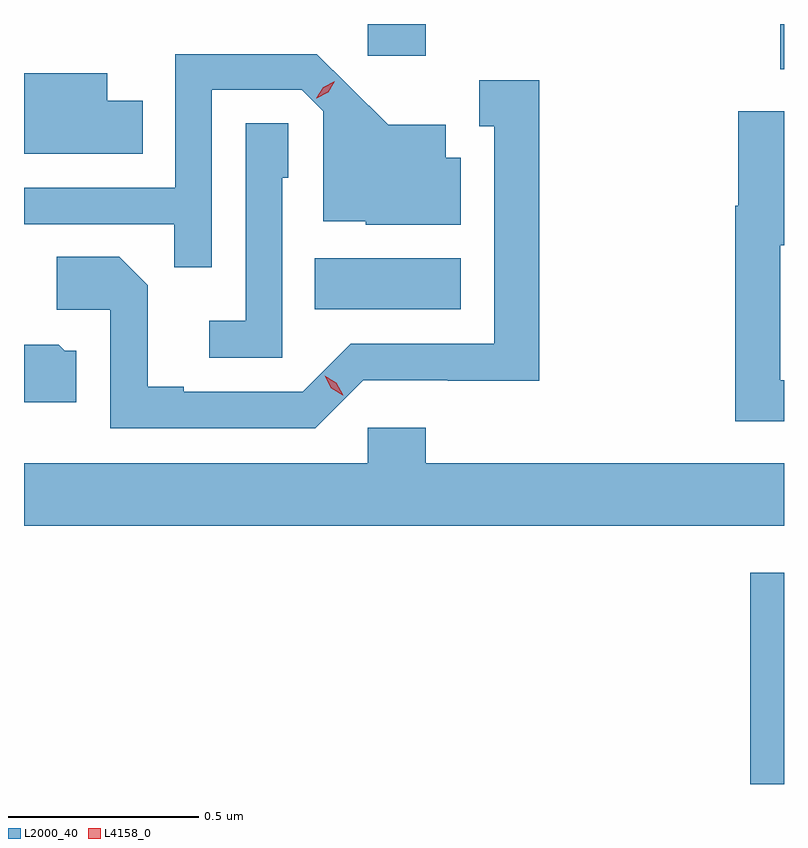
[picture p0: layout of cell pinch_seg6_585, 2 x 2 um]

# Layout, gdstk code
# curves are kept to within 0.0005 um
import gdstk
lib = gdstk.Library(unit=1e-6, precision=1e-09)
def R(c, l, rs):  # rectangles x0, y0, x1, y1
    for r in rs: c.add(gdstk.rectangle(r[:2], r[2:], *l))
def P(c, l, *ps):  # polygons
    for p in ps: c.add(gdstk.Polygon(p, *l))
L2000_40 = (2000, 40)
L4158_0 = (4158, 0)

pinch_seg6_585 = lib.new_cell('pinch_seg6_585')
R(pinch_seg6_585, L2000_40, [(628.246,975.96,628.335,976.516), (627.1,977.21,627.484,977.344), (628.325,977.841,628.335,977.96), (627.24,977.877,627.392,977.96)])
P(pinch_seg6_585, L2000_40, [(626.829,977.787),(627.066,977.787),(627.123,977.73),(627.123,977.441),(627.234,977.441),(627.234,977.432),(627.484,977.432),(627.484,977.608),(627.445,977.608),(627.445,977.695),(627.293,977.695),(627.106,977.88),(626.733,977.88),(626.733,977.529),(626.335,977.529),(626.335,977.433),(626.731,977.433),(626.731,977.32),(626.829,977.32)],
  [(626.648,977.758),(626.554,977.758),(626.554,977.83),(626.335,977.83),(626.335,977.618),(626.648,977.618)],
  [(627.228,977.022),(627.45,977.022),(627.45,977.021),(627.691,977.021),(627.691,977.812),(627.533,977.812),(627.533,977.691),(627.572,977.691),(627.572,977.118),(627.195,977.118),(627.069,976.992),(626.755,976.992),(626.755,977.005),(626.661,977.005),(626.661,977.272),(626.585,977.348),(626.421,977.348),(626.421,977.208),(626.562,977.208),(626.562,976.896),(627.102,976.896)],
  [(628.335,977.023),(628.325,977.023),(628.325,977.378),(628.335,977.378),(628.335,977.731),(628.214,977.731),(628.214,977.482),(628.207,977.482),(628.207,976.914),(628.335,976.914)],
  [(627.015,977.556),(627.03,977.556),(627.03,977.699),(626.919,977.699),(626.919,977.179),(626.823,977.179),(626.823,977.082),(627.015,977.082)],
  [(626.473,977.1),(626.442,977.1),(626.426,977.116),(626.335,977.116),(626.335,976.964),(626.473,976.964)],
  [(628.335,976.804),(627.392,976.804),(627.392,976.897),(627.24,976.897),(627.24,976.804),(626.335,976.804),(626.335,976.64),(628.335,976.64)])
P(pinch_seg6_585, L4158_0, [(627.174,976.983),(627.143,977.002),(627.126,977.035),(627.126,977.035),(627.126,977.035),(627.157,977.016),(627.175,976.983),(627.175,976.983)],
  [(627.104,977.764),(627.104,977.765),(627.122,977.794),(627.153,977.81),(627.153,977.81),(627.153,977.809),(627.136,977.78),(627.105,977.764)])

lib.write_gds('pinch_seg6_585.gds')
